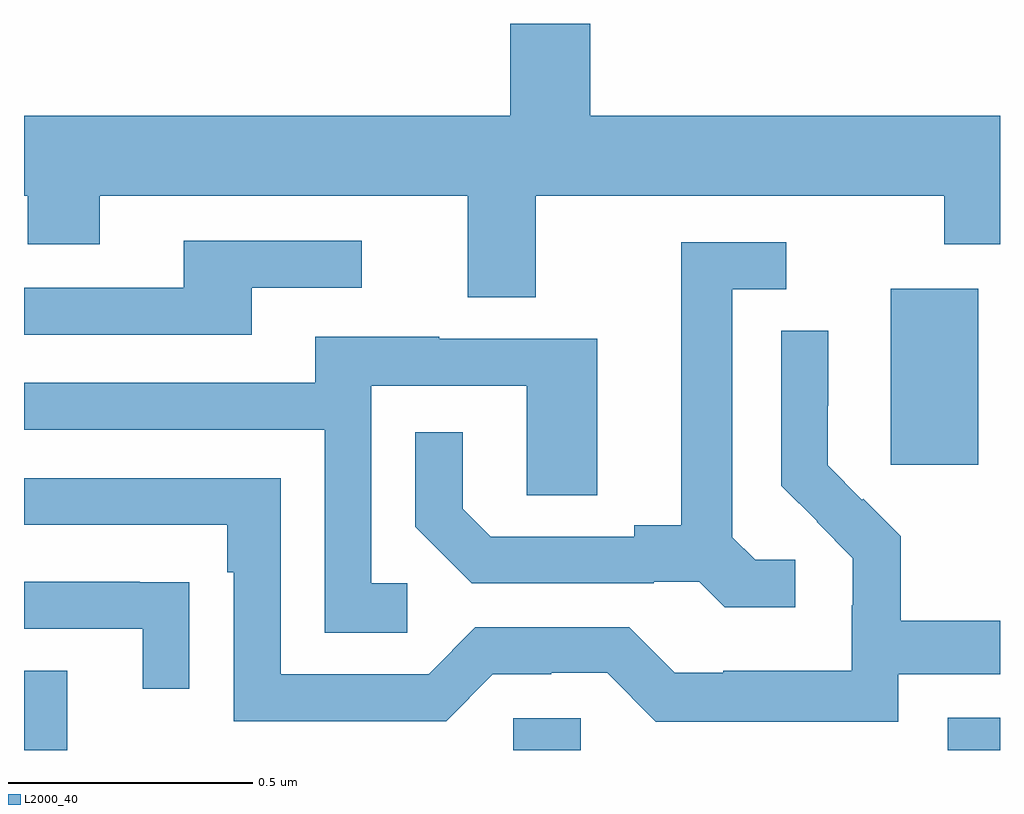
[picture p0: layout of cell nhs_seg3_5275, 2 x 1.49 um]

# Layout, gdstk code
import gdstk
lib = gdstk.Library(unit=1e-6, precision=1e-09)
def R(c, l, rs):  # rectangles x0, y0, x1, y1
    for r in rs: c.add(gdstk.rectangle(r[:2], r[2:], *l))
def P(c, l, *ps):  # polygons
    for p in ps: c.add(gdstk.Polygon(p, *l))
L2000_40 = (2000, 40)

nhs_seg3_5275 = lib.new_cell('nhs_seg3_5275')
R(nhs_seg3_5275, L2000_40, [(176,746.4,176.089,746.563), (177.003,746.4,177.141,746.466), (177.893,746.4,178,746.467), (177.776,746.985,177.955,747.346)])
P(nhs_seg3_5275, L2000_40, [(177.049,747.536),(177.886,747.536),(177.886,747.437),(178,747.437),(178,747.7),(177.16,747.7),(177.16,747.889),(176.996,747.889),(176.996,747.7),(176,747.7),(176,747.536),(176.008,747.536),(176.008,747.437),(176.155,747.437),(176.155,747.536),(176.909,747.536),(176.909,747.328),(177.049,747.328)],
  [(176.467,747.348),(176.692,747.348),(176.692,747.444),(176.327,747.444),(176.327,747.348),(176,747.348),(176,747.252),(176.467,747.252)],
  [(177.58,746.79),(177.498,746.79),(177.451,746.837),(177.451,747.345),(177.562,747.345),(177.562,747.441),(177.347,747.441),(177.347,746.861),(177.251,746.861),(177.251,746.838),(176.956,746.838),(176.899,746.895),(176.899,747.052),(176.802,747.052),(176.802,746.858),(176.918,746.742),(177.29,746.742),(177.29,746.745),(177.384,746.745),(177.436,746.693),(177.58,746.693)],
  [(177.792,746.556),(178,746.556),(178,746.665),(177.797,746.665),(177.797,746.839),(177.72,746.916),(177.717,746.913),(177.647,746.984),(177.647,747.106),(177.648,747.106),(177.648,747.26),(177.552,747.26),(177.552,746.942),(177.625,746.869),(177.624,746.868),(177.698,746.794),(177.698,746.697),(177.696,746.697),(177.696,746.563),(177.433,746.563),(177.433,746.559),(177.333,746.559),(177.24,746.652),(176.925,746.652),(176.829,746.556),(176.526,746.556),(176.526,746.958),(176,746.958),(176,746.862),(176.417,746.862),(176.417,746.765),(176.43,746.765),(176.43,746.46),(176.865,746.46),(176.961,746.556),(177.08,746.556),(177.08,746.559),(177.195,746.559),(177.295,746.459),(177.792,746.459)],
  [(176.785,746.742),(176.712,746.742),(176.712,747.147),(177.03,747.147),(177.03,746.923),(177.175,746.923),(177.175,747.243),(176.851,747.243),(176.851,747.247),(176.597,747.247),(176.597,747.153),(176,747.153),(176,747.057),(176.616,747.057),(176.616,746.641),(176.785,746.641)],
  [(176.339,746.744),(176.237,746.744),(176.237,746.745),(176,746.745),(176,746.649),(176.243,746.649),(176.243,746.526),(176.339,746.526)])

lib.write_gds('nhs_seg3_5275.gds')
